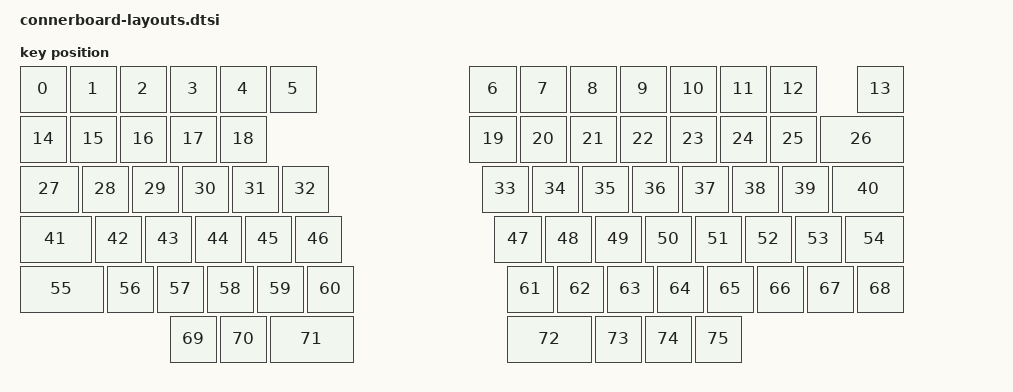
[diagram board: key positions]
// See https://zmk.dev/docs/development/hardware-integration/physical-layouts
// for how to configure this.

#include <physical_layouts.dtsi>

/ {
    default_layout: default_layout {
        compatible = "zmk,physical-layout";
        display-name = "Default Layout";
        transform = <&default_transform>;
        kscan = <&kscan>;

        // Edit this to define the positions and sizes of the keys, or remove it
        // if your keyboard will not support ZMK Studio.
        // https://zmk.dev/docs/development/hardware-integration/physical-layouts#optional-keys-property
        keys  //                     w   h    x    y     rot    rx    ry
            = <&key_physical_attrs 100 100    0    0       0     0     0>
            , <&key_physical_attrs 100 100  100    0       0     0     0>
            , <&key_physical_attrs 100 100  200    0       0     0     0>
            , <&key_physical_attrs 100 100  300    0       0     0     0>
            , <&key_physical_attrs 100 100  400    0       0     0     0>
            , <&key_physical_attrs 100 100  500    0       0     0     0>
            , <&key_physical_attrs 100 100  900    0       0     0     0>
            , <&key_physical_attrs 100 100 1000    0       0     0     0>
            , <&key_physical_attrs 100 100 1100    0       0     0     0>
            , <&key_physical_attrs 100 100 1200    0       0     0     0>
            , <&key_physical_attrs 100 100 1300    0       0     0     0>
            , <&key_physical_attrs 100 100 1400    0       0     0     0>
            , <&key_physical_attrs 100 100 1500    0       0     0     0>
            , <&key_physical_attrs 100 100 1675    0       0     0     0>
            , <&key_physical_attrs 100 100    0    100     0     0     0>
            , <&key_physical_attrs 100 100  100    100     0     0     0>
            , <&key_physical_attrs 100 100  200    100     0     0     0>
            , <&key_physical_attrs 100 100  300    100     0     0     0>
            , <&key_physical_attrs 100 100  400    100     0     0     0>
            , <&key_physical_attrs 100 100  900    100     0     0     0>
            , <&key_physical_attrs 100 100 1000    100     0     0     0>
            , <&key_physical_attrs 100 100 1100    100     0     0     0>
            , <&key_physical_attrs 100 100 1200    100     0     0     0>
            , <&key_physical_attrs 100 100 1300    100     0     0     0>
            , <&key_physical_attrs 100 100 1400    100     0     0     0>
            , <&key_physical_attrs 100 100 1500    100     0     0     0>
            , <&key_physical_attrs 175 100 1600    100     0     0     0>
            , <&key_physical_attrs 125 100    0    200     0     0     0>
            , <&key_physical_attrs 100 100  125    200     0     0     0>
            , <&key_physical_attrs 100 100  225    200     0     0     0>
            , <&key_physical_attrs 100 100  325    200     0     0     0>
            , <&key_physical_attrs 100 100  425    200     0     0     0>
            , <&key_physical_attrs 100 100  525    200     0     0     0>
            , <&key_physical_attrs 100 100  925    200     0     0     0>
            , <&key_physical_attrs 100 100 1025    200     0     0     0>
            , <&key_physical_attrs 100 100 1125    200     0     0     0>
            , <&key_physical_attrs 100 100 1225    200     0     0     0>
            , <&key_physical_attrs 100 100 1325    200     0     0     0>
            , <&key_physical_attrs 100 100 1425    200     0     0     0>
            , <&key_physical_attrs 100 100 1525    200     0     0     0>
            , <&key_physical_attrs 150 100 1625    200     0     0     0>
            , <&key_physical_attrs 150 100    0    300     0     0     0>
            , <&key_physical_attrs 100 100  150    300     0     0     0>
            , <&key_physical_attrs 100 100  250    300     0     0     0>
            , <&key_physical_attrs 100 100  350    300     0     0     0>
            , <&key_physical_attrs 100 100  450    300     0     0     0>
            , <&key_physical_attrs 100 100  550    300     0     0     0>
            , <&key_physical_attrs 100 100  950    300     0     0     0>
            , <&key_physical_attrs 100 100 1050    300     0     0     0>
            , <&key_physical_attrs 100 100 1150    300     0     0     0>
            , <&key_physical_attrs 100 100 1250    300     0     0     0>
            , <&key_physical_attrs 100 100 1350    300     0     0     0>
            , <&key_physical_attrs 100 100 1450    300     0     0     0>
            , <&key_physical_attrs 100 100 1550    300     0     0     0>
            , <&key_physical_attrs 125 100 1650    300     0     0     0>
            , <&key_physical_attrs 175 100    0    400     0     0     0>
            , <&key_physical_attrs 100 100  175    400     0     0     0>
            , <&key_physical_attrs 100 100  275    400     0     0     0>
            , <&key_physical_attrs 100 100  375    400     0     0     0>
            , <&key_physical_attrs 100 100  475    400     0     0     0>
            , <&key_physical_attrs 100 100  575    400     0     0     0>
            , <&key_physical_attrs 100 100  975    400     0     0     0>
            , <&key_physical_attrs 100 100 1075    400     0     0     0>
            , <&key_physical_attrs 100 100 1175    400     0     0     0>
            , <&key_physical_attrs 100 100 1275    400     0     0     0>
            , <&key_physical_attrs 100 100 1375    400     0     0     0>
            , <&key_physical_attrs 100 100 1475    400     0     0     0>
            , <&key_physical_attrs 100 100 1575    400     0     0     0>
            , <&key_physical_attrs 100 100 1675    400     0     0     0>
            , <&key_physical_attrs 100 100  300    500     0     0     0>
            , <&key_physical_attrs 100 100  400    500     0     0     0>
            , <&key_physical_attrs 175 100  500    500     0     0     0>
            , <&key_physical_attrs 175 100  975    500     0     0     0>
            , <&key_physical_attrs 100 100 1150    500     0     0     0>
            , <&key_physical_attrs 100 100 1250    500     0     0     0>
            , <&key_physical_attrs 100 100 1350    500     0     0     0>
            ;
    };
};
